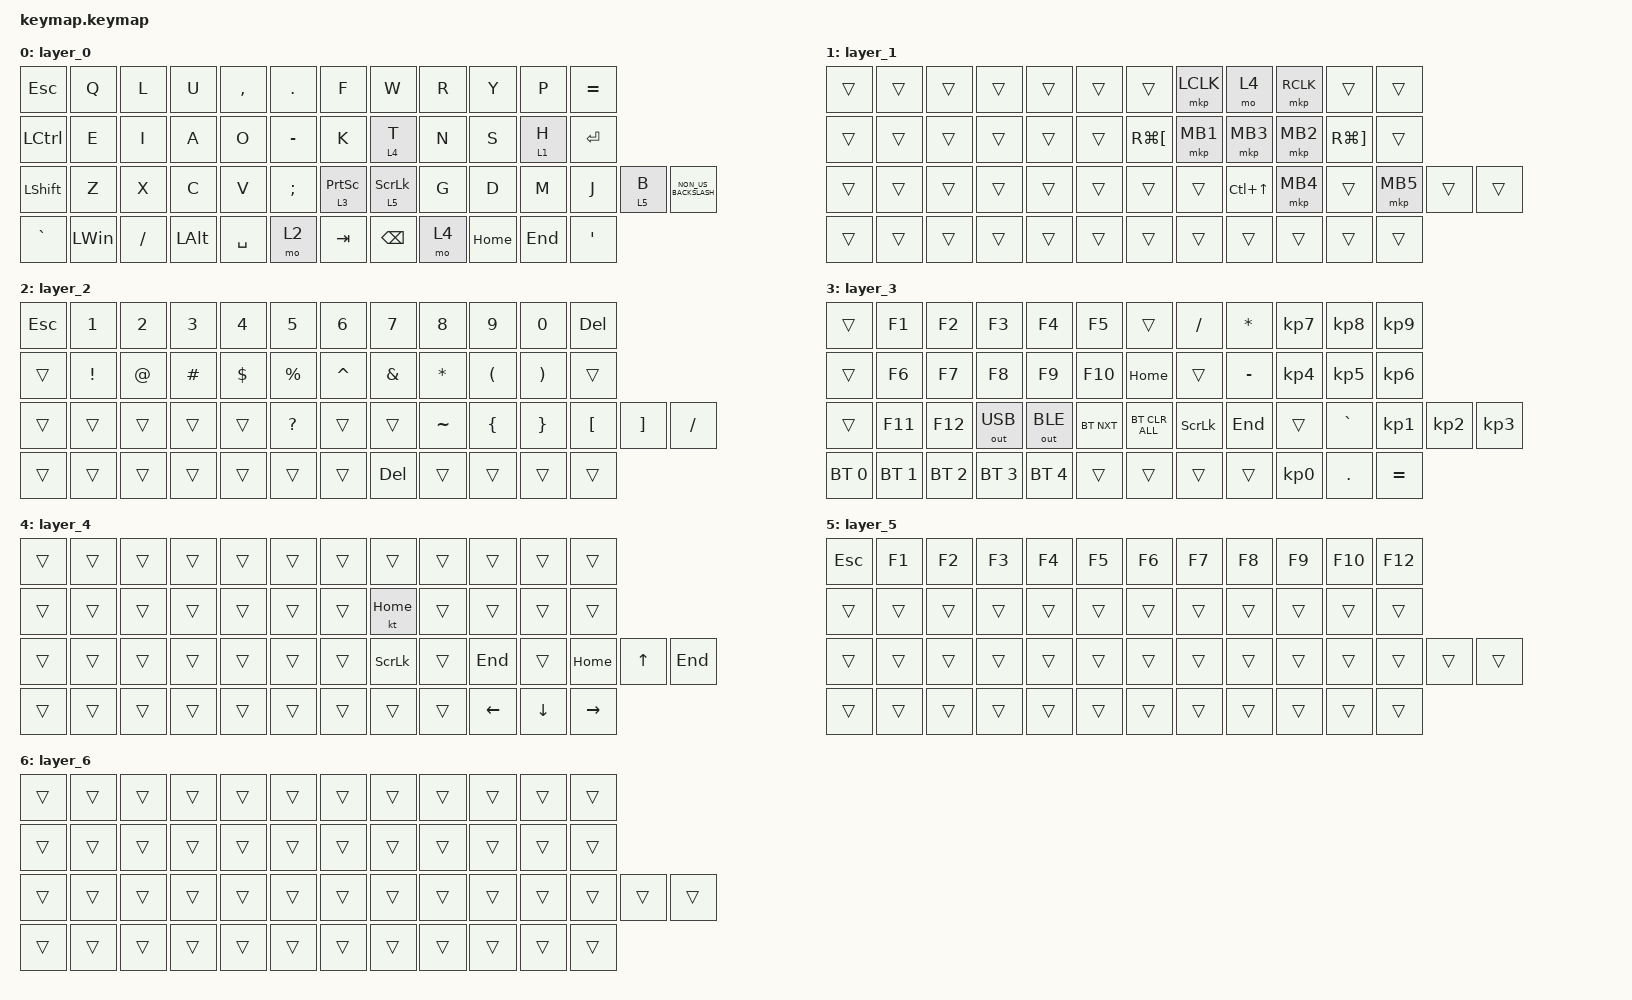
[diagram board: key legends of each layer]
#include <behaviors.dtsi>
#include <dt-bindings/zmk/bt.h>
#include <dt-bindings/zmk/keys.h>
#include <dt-bindings/zmk/outputs.h>
#include <dt-bindings/zmk/pointing.h>

/ {
    combos {
        compatible = "zmk,combos";

        bt_clear {
            bindings = <&bt BT_CLR>;
            key-positions = <28 29>;
            layers = <2>;
        };
    };

    keymap {
        compatible = "zmk,keymap";

        layer_0 {
            bindings = <
&kp ESC           &kp Q         &kp L      &kp U         &kp COMMA  &kp PERIOD     &kp F              &kp W             &kp R  &kp Y     &kp P    &kp EQUAL
&kp LEFT_CONTROL  &kp E         &kp I      &kp A         &kp O      &kp MINUS      &kp K              &lt 4 T           &kp N  &kp S     &lt 1 H  &kp ENTER
&kp LSHFT         &kp Z         &kp X      &kp C         &kp V      &kp SEMICOLON  &lt 3 PRINTSCREEN  &lt 5 SCROLLLOCK  &kp G  &kp D     &kp M    &kp J      &lt 5 B  &kp NON_US_BACKSLASH
&kp GRAVE         &kp LEFT_WIN  &kp SLASH  &kp LEFT_ALT  &kp SPACE  &mo 2          &kp TAB            &kp BACKSPACE     &mo 4  &kp HOME  &kp END  &kp SQT
            >;
        };

        layer_1 {
            bindings = <
&trans  &trans  &trans  &trans  &trans  &trans  &trans                &mkp LCLK  &mo 4             &mkp RCLK  &trans                 &trans
&trans  &trans  &trans  &trans  &trans  &trans  &kp RG(LEFT_BRACKET)  &mkp MB1   &mkp MB3          &mkp MB2   &kp RG(RIGHT_BRACKET)  &trans
&trans  &trans  &trans  &trans  &trans  &trans  &trans                &trans     &kp LC(UP_ARROW)  &mkp MB4   &trans                 &mkp MB5  &trans  &trans
&trans  &trans  &trans  &trans  &trans  &trans  &trans                &trans     &trans            &trans     &trans                 &trans
            >;
        };

        layer_2 {
            bindings = <
&kp ESCAPE  &kp N1    &kp N2  &kp N3    &kp N4      &kp N5        &kp N6     &kp N7         &kp N8     &kp N9                &kp N0                 &kp DELETE
&trans      &kp EXCL  &kp AT  &kp HASH  &kp DOLLAR  &kp PRCNT     &kp CARET  &kp AMPERSAND  &kp ASTRK  &kp LEFT_PARENTHESIS  &kp RIGHT_PARENTHESIS  &trans
&trans      &trans    &trans  &trans    &trans      &kp QUESTION  &trans     &trans         &kp TILDE  &kp LEFT_BRACE        &kp RIGHT_BRACE        &kp LEFT_BRACKET  &kp RIGHT_BRACKET  &kp SLASH
&trans      &trans    &trans  &trans    &trans      &trans        &trans     &kp DEL        &trans     &trans                &trans                 &trans
            >;
        };

        layer_3 {
            bindings = <
&trans        &kp F1        &kp F2        &kp F3        &kp F4        &kp F5      &trans          &kp FSLH        &kp ASTRK  &kp KP_NUMBER_7  &kp KP_NUMBER_8  &kp KP_NUMBER_9
&trans        &kp F6        &kp F7        &kp F8        &kp F9        &kp F10     &kp HOME        &trans          &kp MINUS  &kp KP_NUMBER_4  &kp KP_NUMBER_5  &kp KP_NUMBER_6
&trans        &kp F11       &kp F12       &out OUT_USB  &out OUT_BLE  &bt BT_NXT  &bt BT_CLR_ALL  &kp SCROLLLOCK  &kp END    &trans           &kp GRAVE        &kp KP_NUMBER_1  &kp KP_NUMBER_2  &kp KP_NUMBER_3
&bt BT_SEL 0  &bt BT_SEL 1  &bt BT_SEL 2  &bt BT_SEL 3  &bt BT_SEL 4  &trans      &trans          &trans          &trans     &kp KP_NUMBER_0  &kp DOT          &kp EQUAL
            >;
        };

        layer_4 {
            bindings = <
&trans  &trans  &trans  &trans  &trans  &trans  &trans  &trans          &trans  &trans          &trans          &trans
&trans  &trans  &trans  &trans  &trans  &trans  &trans  &kt HOME        &trans  &trans          &trans          &trans
&trans  &trans  &trans  &trans  &trans  &trans  &trans  &kp SCROLLLOCK  &trans  &kp END         &trans          &kp HOME         &kp UP_ARROW  &kp END
&trans  &trans  &trans  &trans  &trans  &trans  &trans  &trans          &trans  &kp LEFT_ARROW  &kp DOWN_ARROW  &kp RIGHT_ARROW
            >;
        };

        layer_5 {
            bindings = <
&kp ESC  &kp F1  &kp F2  &kp F3  &kp F4  &kp F5  &kp F6  &kp F7  &kp F8  &kp F9  &kp F10  &kp F12
&trans   &trans  &trans  &trans  &trans  &trans  &trans  &trans  &trans  &trans  &trans   &trans
&trans   &trans  &trans  &trans  &trans  &trans  &trans  &trans  &trans  &trans  &trans   &trans   &trans  &trans
&trans   &trans  &trans  &trans  &trans  &trans  &trans  &trans  &trans  &trans  &trans   &trans
            >;
        };

        layer_6 {
            bindings = <
&trans  &trans  &trans  &trans  &trans  &trans  &trans  &trans  &trans  &trans  &trans  &trans
&trans  &trans  &trans  &trans  &trans  &trans  &trans  &trans  &trans  &trans  &trans  &trans
&trans  &trans  &trans  &trans  &trans  &trans  &trans  &trans  &trans  &trans  &trans  &trans  &trans  &trans
&trans  &trans  &trans  &trans  &trans  &trans  &trans  &trans  &trans  &trans  &trans  &trans
            >;
        };
    };
};
